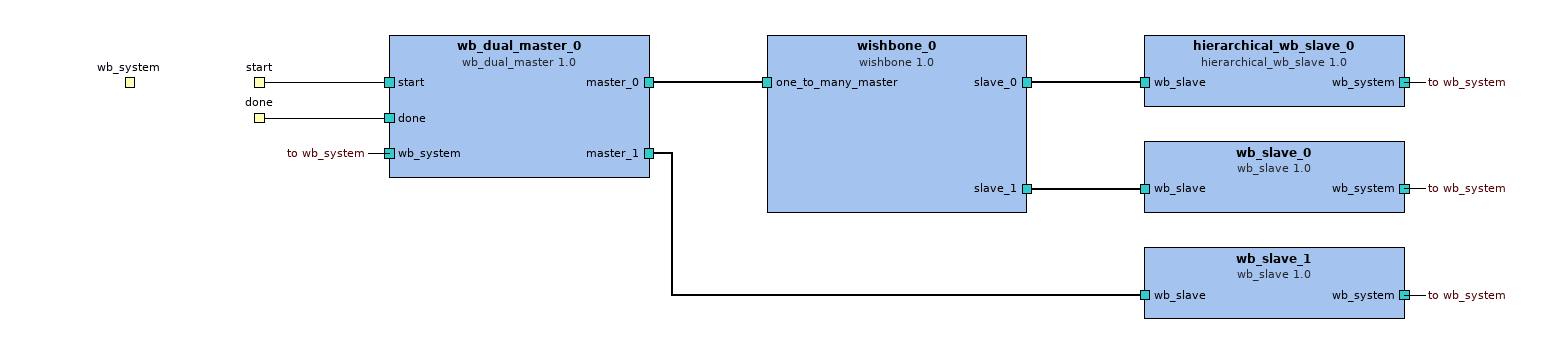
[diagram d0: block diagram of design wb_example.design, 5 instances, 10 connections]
<?xml version="1.0" encoding="UTF-8"?>
<ipxact:design xmlns:xsi="http://www.w3.org/2001/XMLSchema-instance" xmlns:ipxact="http://www.accellera.org/XMLSchema/IPXACT/1685-2014" xmlns:kactus2="http://kactus2.cs.tut.fi" xsi:schemaLocation="http://www.accellera.org/XMLSchema/IPXACT/1685-2014 http://www.accellera.org/XMLSchema/IPXACT/1685-2014/index.xsd"><ipxact:vendor>tut.fi</ipxact:vendor><ipxact:library>other.subsystem</ipxact:library><ipxact:name>wb_example.design</ipxact:name>
 <ipxact:version>1.0</ipxact:version><ipxact:componentInstances>
 <ipxact:componentInstance><ipxact:instanceName>wishbone_0</ipxact:instanceName><ipxact:displayName>The bus</ipxact:displayName><ipxact:description>The bus used in this design to connect a master to two slaves.</ipxact:description>
  <ipxact:componentRef vendor="tut.fi" library="communication.bus" name="wishbone" version="1.0">
   <ipxact:configurableElementValues><ipxact:configurableElementValue referenceId="uuid_27458201_6776_47b9_ba3a_9e290a22ff3b">uuid_debe145f_f0c9_48bb_ac8d_70e8a9089466</ipxact:configurableElementValue><ipxact:configurableElementValue referenceId="uuid_bcba20bf_5f4d_4408_ab04_e9272e8a2a55">uuid_2cb33962_4361_4c2d_bbd1_4ba506a00247</ipxact:configurableElementValue>
    <ipxact:configurableElementValue referenceId="uuid_5d21620a_24de_423a_bc89_d4669d9ba8c3">uuid_2cb33962_4361_4c2d_bbd1_4ba506a00247+uuid_debe145f_f0c9_48bb_ac8d_70e8a9089466</ipxact:configurableElementValue><ipxact:configurableElementValue referenceId="uuid_5c8126ec_6b47_4c7e_9fbe_8ff0c16f7a5c">uuid_3b50669c_c571_47d4_902e_3d6292498706</ipxact:configurableElementValue><ipxact:configurableElementValue referenceId="uuid_f30c27b8_94fc_4cc9_b6c6_2e6299cb0242">uuid_0bf2a5eb_c9ec_4991_8cb3_58d45137e196</ipxact:configurableElementValue>
   </ipxact:configurableElementValues>
  </ipxact:componentRef>
 </ipxact:componentInstance>
 <ipxact:componentInstance><ipxact:instanceName>hierarchical_wb_slave_0</ipxact:instanceName><ipxact:displayName>Hierarchical bus slave</ipxact:displayName><ipxact:description>The first slave connected to bus. Has the same base address as the master.</ipxact:description>
  <ipxact:componentRef vendor="tut.fi" library="peripheral.subsystem" name="hierarchical_wb_slave" version="1.0">
   <ipxact:configurableElementValues><ipxact:configurableElementValue referenceId="uuid_223a95ba_e4b0_4773_9f25_14d3b85116f7">uuid_03c45d98_5f9a_4a2e_9c81_a09ee987285c/2</ipxact:configurableElementValue><ipxact:configurableElementValue referenceId="uuid_840dfc69_aac3_4021_828e_1650b9d38269">uuid_2cb33962_4361_4c2d_bbd1_4ba506a00247</ipxact:configurableElementValue><ipxact:configurableElementValue referenceId="uuid_08e3f0c7_e9a6_479b_9e70_b614f5d809fc">uuid_3b50669c_c571_47d4_902e_3d6292498706</ipxact:configurableElementValue>
    <ipxact:configurableElementValue referenceId="uuid_9f8a68d3_a06c_447d_a93c_86c6f2df980b">uuid_0bf2a5eb_c9ec_4991_8cb3_58d45137e196</ipxact:configurableElementValue>
   </ipxact:configurableElementValues>
  </ipxact:componentRef>
 </ipxact:componentInstance>
 <ipxact:componentInstance><ipxact:instanceName>wb_dual_master_0</ipxact:instanceName><ipxact:displayName>The master</ipxact:displayName><ipxact:description>The chosen master in this design. The second interface has the same base address as the direct slave.</ipxact:description>
  <ipxact:componentRef vendor="tut.fi" library="peripheral.logic" name="wb_dual_master" version="1.0">
   <ipxact:configurableElementValues><ipxact:configurableElementValue referenceId="uuid_e2414448_9d04_40bd_af10_8061a5e4ae7c">uuid_2cb33962_4361_4c2d_bbd1_4ba506a00247</ipxact:configurableElementValue>
    <ipxact:configurableElementValue referenceId="uuid_d0fe4fa7_e3eb_4fec_a7f9_9f3eac6b8c04">uuid_2cb33962_4361_4c2d_bbd1_4ba506a00247+uuid_03c45d98_5f9a_4a2e_9c81_a09ee987285c/2</ipxact:configurableElementValue><ipxact:configurableElementValue referenceId="uuid_fe30a511_9701_4142_b340_223777d1b857">uuid_0bf2a5eb_c9ec_4991_8cb3_58d45137e196</ipxact:configurableElementValue><ipxact:configurableElementValue referenceId="uuid_637f6d26_180c_487c_a7e9_688b55488841">uuid_03c45d98_5f9a_4a2e_9c81_a09ee987285c</ipxact:configurableElementValue>
    <ipxact:configurableElementValue referenceId="uuid_ed7d4652_1c14_4647_90dd_881ec00146f8">uuid_3b50669c_c571_47d4_902e_3d6292498706</ipxact:configurableElementValue>
   </ipxact:configurableElementValues>
  </ipxact:componentRef>
 </ipxact:componentInstance>
 <ipxact:componentInstance><ipxact:instanceName>wb_slave_0</ipxact:instanceName><ipxact:displayName>Bus slave</ipxact:displayName><ipxact:description>The another slave connected to bus. This ones base address is master + half of the total memory.</ipxact:description>
  <ipxact:componentRef vendor="tut.fi" library="communication.template" name="wb_slave" version="1.0">
   <ipxact:configurableElementValues><ipxact:configurableElementValue referenceId="uuid_8765f299_7c9a_41f4_bf6c_35a2b31cd1ba">uuid_03c45d98_5f9a_4a2e_9c81_a09ee987285c/2</ipxact:configurableElementValue>
    <ipxact:configurableElementValue referenceId="uuid_11833df7_86a0_48e2_8577_f3cc38000d57">uuid_2cb33962_4361_4c2d_bbd1_4ba506a00247+uuid_debe145f_f0c9_48bb_ac8d_70e8a9089466</ipxact:configurableElementValue><ipxact:configurableElementValue referenceId="uuid_3452fcca_4cd2_458f_a644_4c6530ea74ed">uuid_3b50669c_c571_47d4_902e_3d6292498706</ipxact:configurableElementValue><ipxact:configurableElementValue referenceId="uuid_981f1b40_673e_44dc_a9c1_881b812f8ddd">uuid_0bf2a5eb_c9ec_4991_8cb3_58d45137e196</ipxact:configurableElementValue>
   </ipxact:configurableElementValues>
  </ipxact:componentRef>
 </ipxact:componentInstance>
 <ipxact:componentInstance><ipxact:instanceName>wb_slave_1</ipxact:instanceName><ipxact:displayName>Direct slave</ipxact:displayName><ipxact:description>The slave in the design which is directly connected to the master.</ipxact:description>
  <ipxact:componentRef vendor="tut.fi" library="communication.template" name="wb_slave" version="1.0">
   <ipxact:configurableElementValues><ipxact:configurableElementValue referenceId="uuid_981f1b40_673e_44dc_a9c1_881b812f8ddd">uuid_0bf2a5eb_c9ec_4991_8cb3_58d45137e196</ipxact:configurableElementValue><ipxact:configurableElementValue referenceId="uuid_8765f299_7c9a_41f4_bf6c_35a2b31cd1ba">uuid_03c45d98_5f9a_4a2e_9c81_a09ee987285c</ipxact:configurableElementValue><ipxact:configurableElementValue referenceId="uuid_11833df7_86a0_48e2_8577_f3cc38000d57">uuid_2cb33962_4361_4c2d_bbd1_4ba506a00247</ipxact:configurableElementValue>
   </ipxact:configurableElementValues>
  </ipxact:componentRef>
 </ipxact:componentInstance>
</ipxact:componentInstances><ipxact:interconnections>
 <ipxact:interconnection><ipxact:name>hierarchical_wb_slave_0_wb_slave_to_wishbone_0_slave_0</ipxact:name><ipxact:activeInterface componentRef="hierarchical_wb_slave_0" busRef="wb_slave"/><ipxact:activeInterface componentRef="wishbone_0" busRef="slave_0"/></ipxact:interconnection>
 <ipxact:interconnection><ipxact:name>hierarchical_wb_slave_0_wb_system_to_wb_system</ipxact:name><ipxact:activeInterface componentRef="hierarchical_wb_slave_0" busRef="wb_system"/><ipxact:hierInterface busRef="wb_system"/></ipxact:interconnection>
 <ipxact:interconnection><ipxact:name>wb_dual_master_0_wb_system_to_wb_system</ipxact:name><ipxact:activeInterface componentRef="wb_dual_master_0" busRef="wb_system"/><ipxact:hierInterface busRef="wb_system"/></ipxact:interconnection>
 <ipxact:interconnection><ipxact:name>wishbone_0_slave_1_to_wb_slave_0_wb_slave</ipxact:name><ipxact:activeInterface componentRef="wishbone_0" busRef="slave_1"/><ipxact:activeInterface componentRef="wb_slave_0" busRef="wb_slave"/></ipxact:interconnection>
 <ipxact:interconnection><ipxact:name>wb_slave_1_wb_slave_to_wb_dual_master_0_master_1</ipxact:name><ipxact:activeInterface componentRef="wb_slave_1" busRef="wb_slave"/><ipxact:activeInterface componentRef="wb_dual_master_0" busRef="master_1"/></ipxact:interconnection>
 <ipxact:interconnection><ipxact:name>wishbone_0_one_to_many_master_to_wb_dual_master_0_master_0</ipxact:name><ipxact:activeInterface componentRef="wishbone_0" busRef="one_to_many_master"/><ipxact:activeInterface componentRef="wb_dual_master_0" busRef="master_0"/></ipxact:interconnection>
 <ipxact:interconnection><ipxact:name>wb_slave_0_wb_system_to_wb_system</ipxact:name><ipxact:activeInterface componentRef="wb_slave_0" busRef="wb_system"/><ipxact:hierInterface busRef="wb_system"/></ipxact:interconnection>
 <ipxact:interconnection><ipxact:name>wb_slave_1_wb_system_to_wb_system</ipxact:name><ipxact:activeInterface componentRef="wb_slave_1" busRef="wb_system"/><ipxact:hierInterface busRef="wb_system"/></ipxact:interconnection>
</ipxact:interconnections><ipxact:adHocConnections>
 <ipxact:adHocConnection><ipxact:name>wb_dual_master_0_start_to_start</ipxact:name><ipxact:portReferences><ipxact:internalPortReference componentRef="wb_dual_master_0" portRef="start"/><ipxact:externalPortReference portRef="start"/></ipxact:portReferences></ipxact:adHocConnection>
 <ipxact:adHocConnection><ipxact:name>wb_dual_master_0_done_to_done</ipxact:name><ipxact:portReferences><ipxact:internalPortReference componentRef="wb_dual_master_0" portRef="done"/><ipxact:externalPortReference portRef="done"/></ipxact:portReferences></ipxact:adHocConnection>
</ipxact:adHocConnections><ipxact:parameters>
 <ipxact:parameter parameterId="uuid_3b50669c_c571_47d4_902e_3d6292498706" resolve="immediate" usageCount="4"><ipxact:name>ADDR_WIDTH</ipxact:name><ipxact:description>The width of the address.</ipxact:description><ipxact:value>32</ipxact:value></ipxact:parameter>
 <ipxact:parameter parameterId="uuid_cd29701c_864f_4d53_bd2a_eb6bdd1d962a" resolve="immediate" usageCount="1"><ipxact:name>AUB</ipxact:name><ipxact:description>Addressable unit bits of the memory</ipxact:description><ipxact:value>8</ipxact:value></ipxact:parameter>
 <ipxact:parameter parameterId="uuid_debe145f_f0c9_48bb_ac8d_70e8a9089466" resolve="immediate" usageCount="3"><ipxact:name>BUS_SLAVE_RANGE</ipxact:name><ipxact:description>How much address space is allotted to each bus slave in the design.</ipxact:description><ipxact:value>uuid_d35e1235_2ff5_46d2_b53d_17604245c818/2</ipxact:value></ipxact:parameter>
 <ipxact:parameter parameterId="uuid_0bf2a5eb_c9ec_4991_8cb3_58d45137e196" resolve="immediate" usageCount="6"><ipxact:name>DATA_WIDTH</ipxact:name><ipxact:description>The width of the both transferred and inputted data.</ipxact:description><ipxact:value>32</ipxact:value></ipxact:parameter>
 <ipxact:parameter parameterId="uuid_d35e1235_2ff5_46d2_b53d_17604245c818" resolve="immediate" usageCount="1"><ipxact:name>MEMORY_AUB_SIZE</ipxact:name><ipxact:description>Size of memory in AUBs, for each master.</ipxact:description><ipxact:value>uuid_03c45d98_5f9a_4a2e_9c81_a09ee987285c*uuid_0bf2a5eb_c9ec_4991_8cb3_58d45137e196/uuid_cd29701c_864f_4d53_bd2a_eb6bdd1d962a</ipxact:value></ipxact:parameter>
 <ipxact:parameter parameterId="uuid_2cb33962_4361_4c2d_bbd1_4ba506a00247" resolve="immediate" usageCount="7"><ipxact:name>SLAVE_BASE</ipxact:name><ipxact:description>The base address of the first slave in the design.</ipxact:description><ipxact:value>'h80</ipxact:value></ipxact:parameter>
 <ipxact:parameter parameterId="uuid_03c45d98_5f9a_4a2e_9c81_a09ee987285c" resolve="immediate" usageCount="6"><ipxact:name>WORD_COUNT</ipxact:name><ipxact:description>How many words there are per master.</ipxact:description><ipxact:value>16</ipxact:value></ipxact:parameter>
</ipxact:parameters></ipxact:design>

